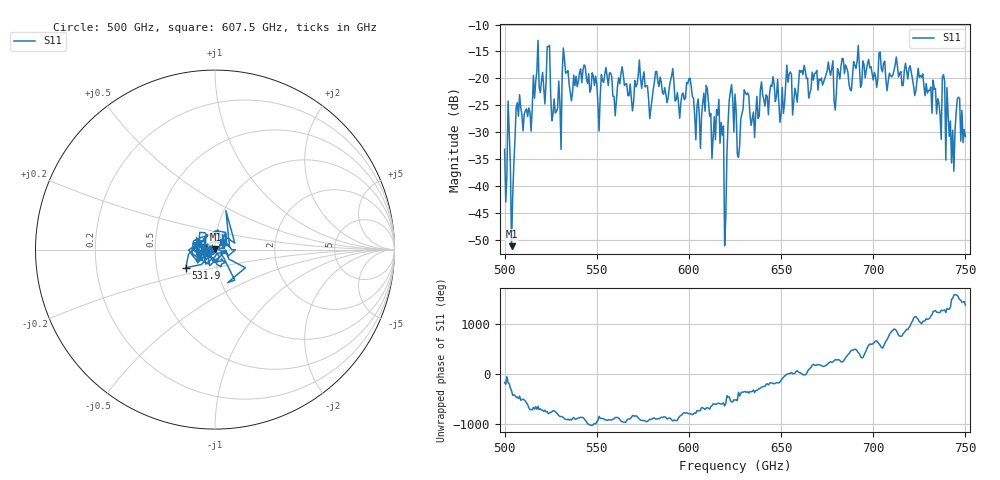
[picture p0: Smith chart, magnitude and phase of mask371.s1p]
!Created with skrf (http://scikit-rf.org).
# GHz S MA R 50.0
!freq magS11 angS11
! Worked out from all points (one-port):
!   401 points, 500 GHz to 750 GHz, reference 50 ohm
!   lowest |S11| = -51.2 dB at 503.8 GHz (marker M1), VSWR 1.01, Z = 50.2 + j0.124 ohm
!   |S11| at or under -10 dB: start of sweep to end of sweep
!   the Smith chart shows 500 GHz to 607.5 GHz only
!   S11 on the Smith chart (normalised r, x): 500 GHz: 0.96, -0.01; 531.9 GHz: 0.71, -0.15; 607.5 GHz: 1.09, +0.09
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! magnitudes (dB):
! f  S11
! 500 GHz  -33.2
! 503.8 GHz  -51.2
! 507.5 GHz  -27.0
! 513.8 GHz  -26.3
! 516.9 GHz  -20.6
! 523.8 GHz  -14.1
! 526.9 GHz  -23.8
! 531.2 GHz  -19.0
! 531.9 GHz  -14.3
! 562.5 GHz  -21.0
! 593.8 GHz  -22.7
! 600 GHz  -20.1
! 607.5 GHz  -24.5
! 616.2 GHz  -23.9
! 619.4 GHz  -51.1
! 620.6 GHz  -34.1
! 622.5 GHz  -22.5
! 625 GHz  -22.9
! 627.5 GHz  -32.6
! 631.2 GHz  -23.0
! 634.4 GHz  -27.5
! 656.2 GHz  -26.8
! 687.5 GHz  -22.1
! 718.8 GHz  -20.1
! 738.8 GHz  -20.5
! 742.5 GHz  -35.8
! 745.6 GHz  -23.8
! 750 GHz  -30.8
